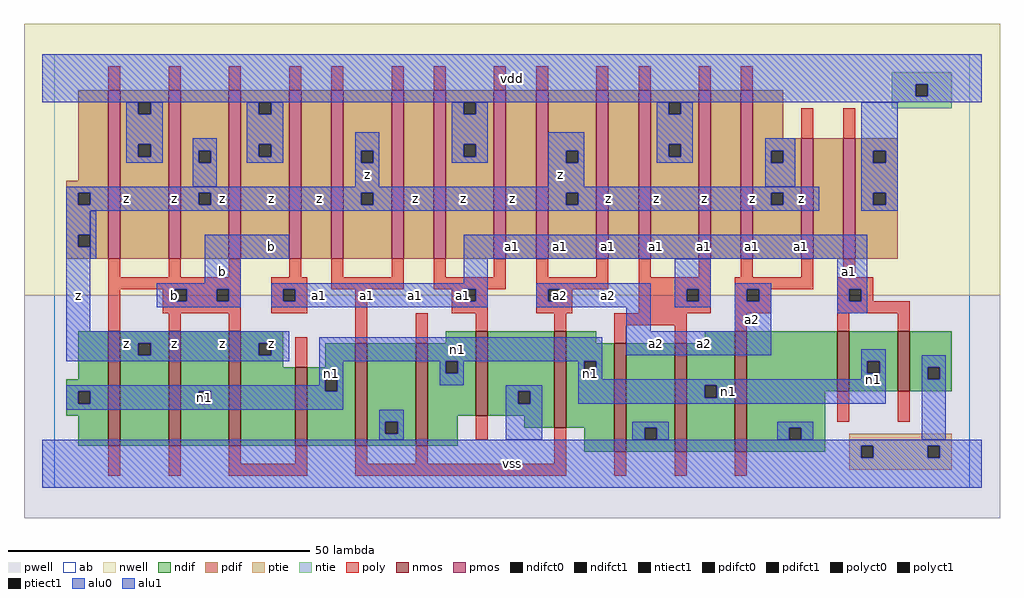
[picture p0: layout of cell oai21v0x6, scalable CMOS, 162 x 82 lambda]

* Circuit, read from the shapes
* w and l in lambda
.subckt oai21v0x6 a1 a2 b n1 vdd vss z
M1 z b n1 vss nfet w=19 l=2 m=3
M2 n1 b z vss nfet w=13 l=2
M3 vss a2 n1 vss nfet w=17 l=2 m=2
M4 vss a1 n1 vss nfet w=14 l=2
M5 n1 a2 vss vss nfet w=16 l=2
M6 vss a1 n1 vss nfet w=18 l=2 m=2
M7 vss a2 n1 vss nfet w=20 l=2
M8 n1 a1 vss vss nfet w=10 l=2 m=2
M9 vdd b z vdd pfet w=28 l=2 m=3
M10 n2 a1 vdd vdd pfet w=28 l=2
M11 z a2 n2 vdd pfet w=28 l=2
M12 n3 a2 z vdd pfet w=28 l=2
M13 vdd a1 n3 vdd pfet w=28 l=2
M14 n4 a1 vdd vdd pfet w=28 l=2
M15 z a2 n4 vdd pfet w=28 l=2
M16 n5 a2 z vdd pfet w=28 l=2
M17 vdd a1 n5 vdd pfet w=28 l=2
M18 n6 a1 vdd vdd pfet w=28 l=2
M19 z a2 n6 vdd pfet w=28 l=2
M20 n7 a2 z vdd pfet w=20 l=2
M21 vdd a1 n7 vdd pfet w=20 l=2
.ends

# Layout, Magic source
magic
tech scmos
<< ab >>
rect 0 0 152 72
<< nwell >>
rect -5 32 157 77
<< pwell >>
rect -5 -5 157 32
<< poly >>
rect 9 66 11 70
rect 19 66 21 70
rect 29 66 31 70
rect 39 66 41 70
rect 46 66 48 70
rect 56 66 58 70
rect 63 66 65 70
rect 73 66 75 70
rect 80 66 82 70
rect 90 66 92 70
rect 97 66 99 70
rect 107 66 109 70
rect 114 66 116 70
rect 124 58 126 63
rect 131 58 133 63
rect 9 35 11 38
rect 19 35 21 38
rect 29 35 31 38
rect 39 35 41 38
rect 46 35 48 38
rect 56 35 58 38
rect 9 33 31 35
rect 9 26 11 33
rect 18 31 20 33
rect 22 31 27 33
rect 29 31 31 33
rect 18 29 31 31
rect 36 33 42 35
rect 46 33 58 35
rect 63 35 65 38
rect 73 35 75 38
rect 63 33 75 35
rect 80 35 82 38
rect 90 35 92 38
rect 80 33 92 35
rect 97 35 99 38
rect 107 35 109 38
rect 114 35 116 38
rect 124 35 126 38
rect 131 35 133 38
rect 97 33 109 35
rect 36 31 38 33
rect 40 31 42 33
rect 36 29 42 31
rect 19 26 21 29
rect 29 26 31 29
rect 40 20 42 25
rect 50 24 52 33
rect 66 31 68 33
rect 70 31 72 33
rect 66 29 72 31
rect 80 31 82 33
rect 84 31 86 33
rect 80 29 86 31
rect 97 31 105 33
rect 107 31 109 33
rect 97 29 109 31
rect 113 33 126 35
rect 130 33 136 35
rect 113 31 115 33
rect 117 31 119 33
rect 113 29 119 31
rect 130 31 132 33
rect 134 31 136 33
rect 130 29 142 31
rect 60 24 62 29
rect 70 26 72 29
rect 83 26 85 29
rect 93 27 105 29
rect 70 8 72 12
rect 93 24 95 27
rect 103 24 105 27
rect 113 26 115 29
rect 130 26 132 29
rect 140 26 142 29
rect 9 2 11 7
rect 19 2 21 7
rect 29 4 31 7
rect 40 4 42 7
rect 29 2 42 4
rect 50 4 52 7
rect 60 4 62 7
rect 83 4 85 10
rect 130 11 132 16
rect 140 11 142 16
rect 50 2 85 4
rect 93 2 95 6
rect 103 2 105 6
rect 113 2 115 6
<< ndif >>
rect 4 18 9 26
rect 2 16 9 18
rect 2 14 4 16
rect 6 14 9 16
rect 2 12 9 14
rect 4 7 9 12
rect 11 24 19 26
rect 11 22 14 24
rect 16 22 19 24
rect 11 7 19 22
rect 21 16 29 26
rect 21 14 24 16
rect 26 14 29 16
rect 21 7 29 14
rect 31 24 38 26
rect 31 22 34 24
rect 36 22 38 24
rect 31 20 38 22
rect 65 24 70 26
rect 45 20 50 24
rect 31 7 40 20
rect 42 18 50 20
rect 42 16 45 18
rect 47 16 50 18
rect 42 7 50 16
rect 52 11 60 24
rect 52 9 55 11
rect 57 9 60 11
rect 52 7 60 9
rect 62 21 70 24
rect 62 19 65 21
rect 67 19 70 21
rect 62 12 70 19
rect 72 16 83 26
rect 72 14 77 16
rect 79 14 83 16
rect 72 12 83 14
rect 62 7 67 12
rect 78 10 83 12
rect 85 24 90 26
rect 108 24 113 26
rect 85 21 93 24
rect 85 19 88 21
rect 90 19 93 21
rect 85 10 93 19
rect 88 6 93 10
rect 95 10 103 24
rect 95 8 98 10
rect 100 8 103 10
rect 95 6 103 8
rect 105 17 113 24
rect 105 15 108 17
rect 110 15 113 17
rect 105 6 113 15
rect 115 16 130 26
rect 132 21 140 26
rect 132 19 135 21
rect 137 19 140 21
rect 132 16 140 19
rect 142 20 149 26
rect 142 18 145 20
rect 147 18 149 20
rect 142 16 149 18
rect 115 10 128 16
rect 115 8 122 10
rect 124 8 128 10
rect 115 6 128 8
<< pdif >>
rect 4 51 9 66
rect 2 49 9 51
rect 2 47 4 49
rect 6 47 9 49
rect 2 42 9 47
rect 2 40 4 42
rect 6 40 9 42
rect 2 38 9 40
rect 11 64 19 66
rect 11 62 14 64
rect 16 62 19 64
rect 11 57 19 62
rect 11 55 14 57
rect 16 55 19 57
rect 11 38 19 55
rect 21 56 29 66
rect 21 54 24 56
rect 26 54 29 56
rect 21 49 29 54
rect 21 47 24 49
rect 26 47 29 49
rect 21 38 29 47
rect 31 64 39 66
rect 31 62 34 64
rect 36 62 39 64
rect 31 57 39 62
rect 31 55 34 57
rect 36 55 39 57
rect 31 38 39 55
rect 41 38 46 66
rect 48 56 56 66
rect 48 54 51 56
rect 53 54 56 56
rect 48 49 56 54
rect 48 47 51 49
rect 53 47 56 49
rect 48 38 56 47
rect 58 38 63 66
rect 65 64 73 66
rect 65 62 68 64
rect 70 62 73 64
rect 65 57 73 62
rect 65 55 68 57
rect 70 55 73 57
rect 65 38 73 55
rect 75 38 80 66
rect 82 56 90 66
rect 82 54 85 56
rect 87 54 90 56
rect 82 49 90 54
rect 82 47 85 49
rect 87 47 90 49
rect 82 38 90 47
rect 92 38 97 66
rect 99 64 107 66
rect 99 62 102 64
rect 104 62 107 64
rect 99 57 107 62
rect 99 55 102 57
rect 104 55 107 57
rect 99 38 107 55
rect 109 38 114 66
rect 116 58 121 66
rect 116 56 124 58
rect 116 54 119 56
rect 121 54 124 56
rect 116 49 124 54
rect 116 47 119 49
rect 121 47 124 49
rect 116 38 124 47
rect 126 38 131 58
rect 133 56 140 58
rect 133 54 136 56
rect 138 54 140 56
rect 133 49 140 54
rect 133 47 136 49
rect 138 47 140 49
rect 133 38 140 47
<< alu1 >>
rect -2 67 154 72
rect -2 65 143 67
rect 145 65 154 67
rect -2 64 154 65
rect 50 56 54 59
rect 50 54 51 56
rect 53 54 54 56
rect 82 56 88 59
rect 82 54 85 56
rect 87 54 88 56
rect 50 50 54 54
rect 82 50 88 54
rect 2 49 127 50
rect 2 47 4 49
rect 6 47 24 49
rect 26 47 51 49
rect 53 47 85 49
rect 87 47 119 49
rect 121 47 127 49
rect 2 46 127 47
rect 2 42 6 46
rect 2 40 4 42
rect 2 26 6 40
rect 25 38 39 42
rect 68 38 135 42
rect 25 34 31 38
rect 68 34 72 38
rect 17 33 31 34
rect 17 31 20 33
rect 22 31 27 33
rect 29 31 31 33
rect 17 30 31 31
rect 36 33 72 34
rect 36 31 38 33
rect 40 31 68 33
rect 70 31 72 33
rect 36 30 72 31
rect 80 33 99 34
rect 80 31 82 33
rect 84 31 99 33
rect 80 30 99 31
rect 113 33 119 34
rect 113 31 115 33
rect 117 31 119 33
rect 95 26 99 30
rect 113 26 119 31
rect 130 33 135 38
rect 130 31 132 33
rect 134 31 135 33
rect 130 29 135 31
rect 2 24 39 26
rect 2 22 14 24
rect 16 22 34 24
rect 36 22 39 24
rect 2 21 39 22
rect 95 22 119 26
rect -2 7 154 8
rect -2 5 134 7
rect 136 5 145 7
rect 147 5 154 7
rect -2 0 154 5
<< ptie >>
rect 132 7 149 9
rect 132 5 134 7
rect 136 5 145 7
rect 147 5 149 7
rect 132 3 149 5
<< ntie >>
rect 139 67 149 69
rect 139 65 143 67
rect 145 65 149 67
rect 139 63 149 65
<< nmos >>
rect 9 7 11 26
rect 19 7 21 26
rect 29 7 31 26
rect 40 7 42 20
rect 50 7 52 24
rect 60 7 62 24
rect 70 12 72 26
rect 83 10 85 26
rect 93 6 95 24
rect 103 6 105 24
rect 113 6 115 26
rect 130 16 132 26
rect 140 16 142 26
<< pmos >>
rect 9 38 11 66
rect 19 38 21 66
rect 29 38 31 66
rect 39 38 41 66
rect 46 38 48 66
rect 56 38 58 66
rect 63 38 65 66
rect 73 38 75 66
rect 80 38 82 66
rect 90 38 92 66
rect 97 38 99 66
rect 107 38 109 66
rect 114 38 116 66
rect 124 38 126 58
rect 131 38 133 58
<< polyct0 >>
rect 105 31 107 33
<< polyct1 >>
rect 20 31 22 33
rect 27 31 29 33
rect 38 31 40 33
rect 68 31 70 33
rect 82 31 84 33
rect 115 31 117 33
rect 132 31 134 33
<< ndifct0 >>
rect 4 14 6 16
rect 24 14 26 16
rect 45 16 47 18
rect 55 9 57 11
rect 65 19 67 21
rect 77 14 79 16
rect 88 19 90 21
rect 98 8 100 10
rect 108 15 110 17
rect 135 19 137 21
rect 145 18 147 20
rect 122 8 124 10
<< ndifct1 >>
rect 14 22 16 24
rect 34 22 36 24
<< ntiect1 >>
rect 143 65 145 67
<< ptiect1 >>
rect 134 5 136 7
rect 145 5 147 7
<< pdifct0 >>
rect 14 62 16 64
rect 14 55 16 57
rect 24 54 26 56
rect 34 62 36 64
rect 34 55 36 57
rect 68 62 70 64
rect 68 55 70 57
rect 102 62 104 64
rect 102 55 104 57
rect 119 54 121 56
rect 136 54 138 56
rect 136 47 138 49
<< pdifct1 >>
rect 4 47 6 49
rect 4 40 6 42
rect 24 47 26 49
rect 51 54 53 56
rect 51 47 53 49
rect 85 54 87 56
rect 85 47 87 49
rect 119 47 121 49
<< alu0 >>
rect 12 62 14 64
rect 16 62 18 64
rect 12 57 18 62
rect 32 62 34 64
rect 36 62 38 64
rect 12 55 14 57
rect 16 55 18 57
rect 12 54 18 55
rect 23 56 27 58
rect 23 54 24 56
rect 26 54 27 56
rect 32 57 38 62
rect 66 62 68 64
rect 70 62 72 64
rect 32 55 34 57
rect 36 55 38 57
rect 32 54 38 55
rect 66 57 72 62
rect 100 62 102 64
rect 104 62 106 64
rect 66 55 68 57
rect 70 55 72 57
rect 66 54 72 55
rect 100 57 106 62
rect 100 55 102 57
rect 104 55 106 57
rect 100 54 106 55
rect 118 56 123 58
rect 118 54 119 56
rect 121 54 123 56
rect 23 50 27 54
rect 118 50 123 54
rect 134 56 140 64
rect 134 54 136 56
rect 138 54 140 56
rect 134 49 140 54
rect 134 47 136 49
rect 138 47 140 49
rect 134 46 140 47
rect 6 38 7 46
rect 103 33 109 38
rect 103 31 105 33
rect 107 31 109 33
rect 103 30 109 31
rect 44 21 91 25
rect 44 18 48 21
rect 44 17 45 18
rect 2 16 45 17
rect 47 16 48 18
rect 64 19 65 21
rect 67 19 68 21
rect 64 17 68 19
rect 87 19 88 21
rect 90 19 91 21
rect 87 18 91 19
rect 134 21 138 23
rect 134 19 135 21
rect 137 19 138 21
rect 134 18 138 19
rect 87 17 138 18
rect 2 14 4 16
rect 6 14 24 16
rect 26 14 48 16
rect 2 13 48 14
rect 75 16 81 17
rect 75 14 77 16
rect 79 14 81 16
rect 87 15 108 17
rect 110 15 138 17
rect 87 14 138 15
rect 144 20 148 22
rect 144 18 145 20
rect 147 18 148 20
rect 54 11 58 13
rect 54 9 55 11
rect 57 9 58 11
rect 54 8 58 9
rect 75 8 81 14
rect 96 10 102 11
rect 96 8 98 10
rect 100 8 102 10
rect 120 10 126 11
rect 120 8 122 10
rect 124 8 126 10
rect 144 8 148 18
<< labels >>
rlabel ndifct0 25 15 25 15 6 n1
rlabel alu0 46 19 46 19 6 n1
rlabel alu0 89 19 89 19 6 n1
rlabel alu0 67 23 67 23 6 n1
rlabel alu0 112 16 112 16 6 n1
rlabel alu0 136 18 136 18 6 n1
rlabel alu1 20 24 20 24 6 z
rlabel alu1 12 24 12 24 6 z
rlabel alu1 4 32 4 32 6 z
rlabel alu1 20 32 20 32 6 b
rlabel alu1 20 48 20 48 6 z
rlabel alu1 12 48 12 48 6 z
rlabel alu1 28 24 28 24 6 z
rlabel alu1 36 24 36 24 6 z
rlabel alu1 52 32 52 32 6 a1
rlabel alu1 44 32 44 32 6 a1
rlabel alu1 28 36 28 36 6 b
rlabel alu1 36 40 36 40 6 b
rlabel alu1 28 48 28 48 6 z
rlabel alu1 52 52 52 52 6 z
rlabel alu1 44 48 44 48 6 z
rlabel alu1 36 48 36 48 6 z
rlabel alu1 76 4 76 4 6 vss
rlabel alu1 84 32 84 32 6 a2
rlabel alu1 68 32 68 32 6 a1
rlabel alu1 60 32 60 32 6 a1
rlabel alu1 84 40 84 40 6 a1
rlabel alu1 76 40 76 40 6 a1
rlabel alu1 60 48 60 48 6 z
rlabel alu1 84 52 84 52 6 z
rlabel alu1 76 48 76 48 6 z
rlabel alu1 68 48 68 48 6 z
rlabel alu1 76 68 76 68 6 vdd
rlabel alu1 108 24 108 24 6 a2
rlabel alu1 100 24 100 24 6 a2
rlabel alu1 116 28 116 28 6 a2
rlabel alu1 92 32 92 32 6 a2
rlabel alu1 92 40 92 40 6 a1
rlabel alu1 116 40 116 40 6 a1
rlabel alu1 108 40 108 40 6 a1
rlabel alu1 100 40 100 40 6 a1
rlabel alu1 92 48 92 48 6 z
rlabel alu1 116 48 116 48 6 z
rlabel alu1 108 48 108 48 6 z
rlabel alu1 100 48 100 48 6 z
rlabel alu1 124 40 124 40 6 a1
rlabel alu1 132 36 132 36 6 a1
rlabel alu1 124 48 124 48 6 z
<< end >>
